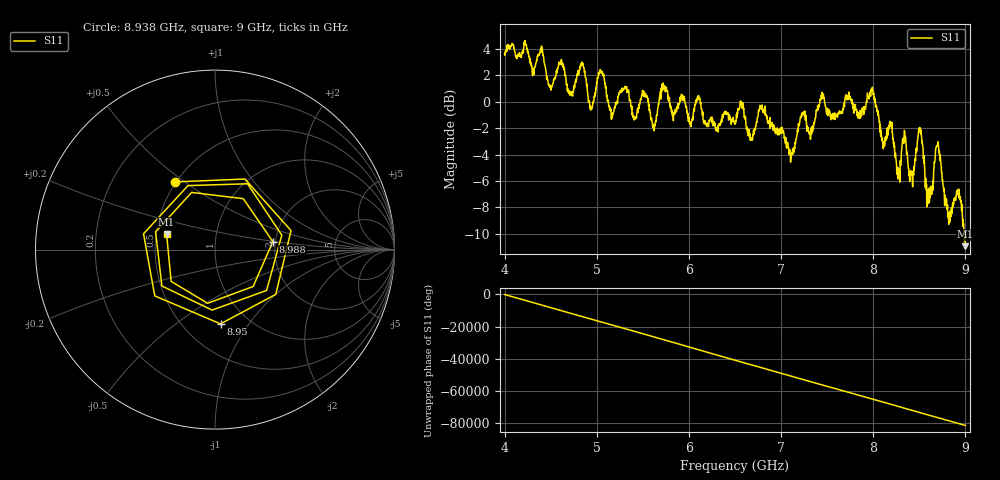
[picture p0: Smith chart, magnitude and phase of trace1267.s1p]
! Created with skrf 1.8.0 (http://scikit-rf.org).
# Hz S RI R 50.0
!freq ReS11 ImS11
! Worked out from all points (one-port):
!   1601 points, 4 GHz to 9 GHz, reference 50 ohm
!   lowest |S11| = -10.9 dB at 9 GHz (marker M1), VSWR 1.79, Z = 28.4 + j5.42 ohm
!   |S11| at or under -10 dB: 8.988893 GHz to end of sweep
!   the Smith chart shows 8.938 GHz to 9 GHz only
!   S11 on the Smith chart (normalised r, x): 8.938 GHz: 0.50, +0.46; 8.95 GHz: 0.75, -0.75; 8.988 GHz: 1.94, +0.19; 9 GHz: 0.57, +0.11
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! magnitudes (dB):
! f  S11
! 4 GHz  3.6
! 4.4 GHz  4.2
! 4.5 GHz  1.2
! 4.625 GHz  2.7
! 4.712 GHz  0.5
! 4.847 GHz  2.8
! 4.934 GHz  -0.6
! 5.044 GHz  2.2
! 5.159 GHz  -1.3
! 5.25 GHz  0.7
! 5.875 GHz  -0.5
! 6.5 GHz  -1.7
! 6.794 GHz  -0.2
! 7.125 GHz  -3.5
! 7.234 GHz  -0.9
! 7.75 GHz  0.3
! 7.991 GHz  1.1
! 8.266 GHz  -5.0
! 8.334 GHz  -2.7
! 8.375 GHz  -4.7
! 8.506 GHz  -2.1
! 8.591 GHz  -7.2
! 8.697 GHz  -3.3
! 8.819 GHz  -9.3
! 8.938 GHz  -7.2
! 8.95 GHz  -7.6
! 8.988 GHz  -9.8
! 9 GHz  -10.9
